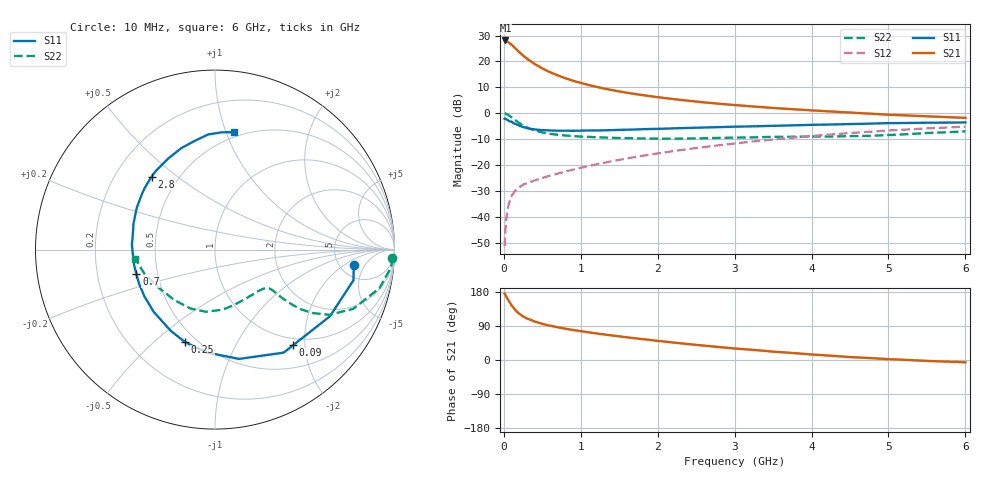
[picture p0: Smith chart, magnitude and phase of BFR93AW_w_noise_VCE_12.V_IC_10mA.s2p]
! Infineon Technologies  Discrete & RF Semiconductors
! BFR93AW
! VCE =  12. V,  IC =  10 mA
! Common Emitter S-Parameters:  Jan 2017
# GHz  S  MA  R  50
!  f  S11  S21  S12  S22
! GHz  MAG  ANG  MAG  ANG  MAG  ANG  MAG  ANG
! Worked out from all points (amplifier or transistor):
!   77 points, 10 MHz to 6 GHz, reference 50 ohm
!   highest |S21| = 28.1 dB at 20 MHz (marker M1)
!   |S21| within 3 dB of that: start of sweep to 148 MHz
!   unconditionally stable (mu >= 1): 874.9 MHz to 2.106 GHz
!   at 130 MHz: K = 0.30, MSG = 28.1 dB, |S12| = -30.7 dB
!   at 2.2 GHz: K = 0.99, MSG = 10.1 dB, |S12| = -14.7 dB
!   at 6 GHz: K = 0.85, MSG = 1.7 dB, |S12| = -5.2 dB
!   lowest NFmin = 1.25 dB at 450 MHz
!   S11 on the Smith chart (normalised r, x): 10 MHz: 6.73, -2.91; 90 MHz: 0.87, -1.77; 250 MHz: 0.43, -0.63; 700 MHz: 0.38, -0.13; 2.8 GHz: 0.36, +0.41; 6 GHz: 0.46, +1.07
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0.01  0.778 -6.3  25.35 175.5  0.0027 79.0  0.9893 -2.7
0.02  0.7901 -12.5  25.41 171.9  0.0055 89.8  0.9864 -5.7
0.05  0.7404 -30.1  24.09 160.4  0.0143 76.1  0.9414 -13.2
0.09  0.6879 -50.8  21.54 147.6  0.0228 66.4  0.8565 -21.0
0.1  0.6899 -56.3  21.1 144.0  0.025 65.0  0.8381 -23.2
0.15  0.6236 -77.6  17.88 131.5  0.0321 58.1  0.7331 -29.7
0.2  0.5753 -94.5  15.14 122.2  0.0371 54.7  0.6469 -33.1
0.25  0.542 -107.9  13.02 115.0  0.0417 52.5  0.5813 -34.8
0.3  0.5149 -118.7  11.31 109.6  0.0444 51.5  0.5298 -35.5
0.4  0.4867 -134.7  8.932 101.4  0.0502 52.7  0.4647 -35.8
0.5  0.4716 -146.5  7.318 95.4  0.056 54.2  0.4253 -35.5
0.6  0.464 -155.7  6.203 90.5  0.0622 56.0  0.3999 -35.3
0.7  0.4587 -162.8  5.366 86.4  0.0681 58.2  0.3828 -35.3
0.9  0.4575 -174.5  4.228 79.1  0.0812 60.8  0.3613 -36.5
1.1  0.4637 176.4  3.511 73.2  0.0951 63.0  0.3486 -38.6
1.5  0.4765 162.5  2.633 62.4  0.1253 65.3  0.3315 -45.3
2.1  0.5033 146.2  1.955 48.4  0.1759 64.9  0.3221 -60.0
2.8  0.5385 130.9  1.522 34.1  0.2404 61.8  0.3335 -79.7
3.1  0.5519 124.8  1.399 28.9  0.2699 59.6  0.3387 -87.8
4.1  0.5992 106.7  1.112 13.3  0.3723 50.4  0.3543 -115.7
5.1  0.6443 92.0  0.922 1.4  0.4716 39.0  0.3839 -149.0
6  0.6628 80.8  0.812 -6.1  0.5491 28.0  0.4461 -173.2
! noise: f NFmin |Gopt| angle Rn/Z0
0.45  1.25  0.15  94  0.13
0.9  1.55  0.24  150  0.14
1.9  2.61  0.47  -148  0.18
2.4  3.24  0.54  -131  0.36
